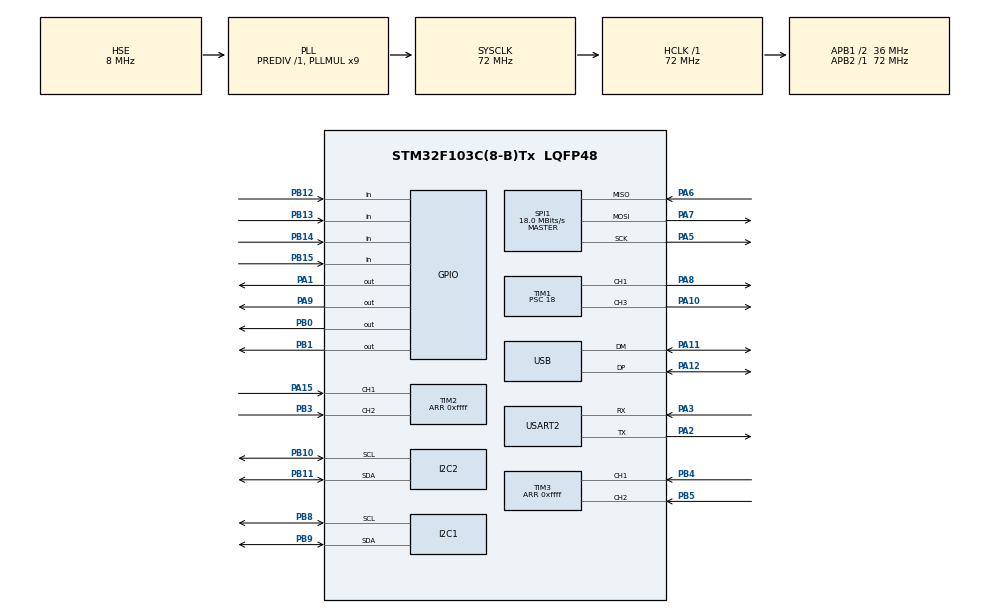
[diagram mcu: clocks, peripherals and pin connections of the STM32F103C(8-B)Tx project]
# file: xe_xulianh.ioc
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I2C2.GeneralCallMode=I2C_GENERALCALL_ENABLE
Mcu.Family=STM32F1
Mcu.Name=STM32F103C(8-B)Tx
Mcu.Package=LQFP48
NVIC.I2C1_ER_IRQn=true\:1\:0\:true\:false\:true\:true\:true
NVIC.I2C1_EV_IRQn=true\:1\:0\:true\:false\:true\:true\:true
NVIC.I2C2_ER_IRQn=true\:1\:0\:true\:false\:true\:true\:true
NVIC.I2C2_EV_IRQn=true\:1\:0\:true\:false\:true\:true\:true
NVIC.PriorityGroup=NVIC_PRIORITYGROUP_4
NVIC.TIM2_IRQn=true\:0\:0\:false\:false\:true\:true\:true
NVIC.TIM3_IRQn=true\:0\:0\:false\:false\:true\:true\:true
NVIC.TIM4_IRQn=true\:0\:0\:false\:false\:true\:true\:true
NVIC.USART2_IRQn=true\:1\:0\:true\:false\:true\:true\:true
PA1.Signal=GPIO_Output
PA10.Signal=S_TIM1_CH3
PA11.Mode=Device
PA11.Signal=USB_DM
PA12.Mode=Device
PA12.Signal=USB_DP
PA13.Mode=Serial_Wire
PA13.Signal=SYS_JTMS-SWDIO
PA14.Mode=Serial_Wire
PA14.Signal=SYS_JTCK-SWCLK
PA15.GPIO_PuPd=GPIO_PULLUP
PA15.Signal=S_TIM2_CH1_ETR
PA2.Mode=Asynchronous
PA2.Signal=USART2_TX
PA3.Mode=Asynchronous
PA3.Signal=USART2_RX
PA5.Mode=Full_Duplex_Master
PA5.Signal=SPI1_SCK
PA6.Mode=Full_Duplex_Master
PA6.Signal=SPI1_MISO
PA7.Mode=Full_Duplex_Master
PA7.Signal=SPI1_MOSI
PA8.Signal=S_TIM1_CH1
PA9.Signal=GPIO_Output
PB0.Signal=GPIO_Output
PB1.Signal=GPIO_Output
PB10.Mode=I2C
PB10.Signal=I2C2_SCL
PB11.Mode=I2C
PB11.Signal=I2C2_SDA
PB12.Signal=GPIO_Input
PB13.Signal=GPIO_Input
PB14.Signal=GPIO_Input
PB15.Signal=GPIO_Input
PB3.GPIO_PuPd=GPIO_PULLUP
PB3.Signal=S_TIM2_CH2
PB4.GPIO_PuPd=GPIO_PULLUP
PB4.Signal=S_TIM3_CH1
PB5.GPIO_PuPd=GPIO_PULLUP
PB5.Signal=S_TIM3_CH2
PB8.Mode=I2C
PB8.Signal=I2C1_SCL
PB9.Mode=I2C
PB9.Signal=I2C1_SDA
PD0-OSC_IN.Mode=HSE-External-Oscillator
PD0-OSC_IN.Signal=RCC_OSC_IN
PD1-OSC_OUT.Mode=HSE-External-Oscillator
PD1-OSC_OUT.Signal=RCC_OSC_OUT
ProjectManager.HeapSize=0x200
ProjectManager.StackSize=0x400
ProjectManager.TargetToolchain=MDK-ARM V5
RCC.AHBFreq_Value=72000000
RCC.APB1CLKDivider=RCC_HCLK_DIV2
RCC.APB1Freq_Value=36000000
RCC.APB1TimFreq_Value=72000000
RCC.APB2Freq_Value=72000000
RCC.APB2TimFreq_Value=72000000
RCC.HCLKFreq_Value=72000000
RCC.PLLMUL=RCC_PLL_MUL9
RCC.SYSCLKFreq_VALUE=72000000
RCC.SYSCLKSource=RCC_SYSCLKSOURCE_PLLCLK
RCC.USBFreq_Value=48000000
RCC.USBPrescaler=RCC_USBCLKSOURCE_PLL_DIV1_5
SH.S_TIM1_CH1.0=TIM1_CH1,PWM Generation1 CH1
SH.S_TIM1_CH3.0=TIM1_CH3,PWM Generation3 CH3
SH.S_TIM2_CH1_ETR.0=TIM2_CH1,Encoder_Interface
SH.S_TIM2_CH2.0=TIM2_CH2,Encoder_Interface
SH.S_TIM3_CH1.0=TIM3_CH1,Encoder_Interface
SH.S_TIM3_CH2.0=TIM3_CH2,Encoder_Interface
SPI1.BaudRatePrescaler=SPI_BAUDRATEPRESCALER_4
SPI1.CalculateBaudRate=18.0 MBits/s
SPI1.Direction=SPI_DIRECTION_2LINES
SPI1.Mode=SPI_MODE_MASTER
SPI1.VirtualType=VM_MASTER
TIM1.Channel-PWM\ Generation1\ CH1=TIM_CHANNEL_1
TIM1.Channel-PWM\ Generation3\ CH3=TIM_CHANNEL_3
TIM1.Period=400
TIM1.Prescaler=18
TIM2.EncoderMode=TIM_ENCODERMODE_TI12
TIM2.Period=0xffff
TIM3.EncoderMode=TIM_ENCODERMODE_TI12
TIM3.Period=0xffff
TIM4.Channel-PWM\ Generation1\ No\ Output=TIM_CHANNEL_1
TIM4.Period=60000
TIM4.Prescaler=23
USART2.VirtualMode=VM_ASYNC
VP_TIM1_VS_ClockSourceINT.Mode=Internal
VP_TIM4_VS_ClockSourceINT.Mode=Internal
VP_TIM4_VS_no_output1.Mode=PWM Generation1 No Output
board=custom

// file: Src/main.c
/* USER CODE BEGIN Header */
/**
  ******************************************************************************
  * @file           : main.c
  * @brief          : Main program body
  ******************************************************************************
  * @attention
  *
  * <h2><center>&copy; Copyright (c) 2020 STMicroelectronics.
  * All rights reserved.</center></h2>
  *
  * This software component is licensed by ST under BSD 3-Clause license,
  * the "License"; You may not use this file except in compliance with the
  * License. You may obtain a copy of the License at:
  *                        opensource.org/licenses/BSD-3-Clause
  *
  ******************************************************************************
  */
/* USER CODE END Header */

#include "main.h"

/* USER CODE BEGIN Includes */

#include <stdio.h>
//#define arduino 0x68
//#define I2C_SLAVE_ADDRESS7 	0x30	//
//#define ClockSpeed 			50000	//clock
/* USER CODE END Includes */

I2C_HandleTypeDef hi2c1;
I2C_HandleTypeDef hi2c2;

SPI_HandleTypeDef hspi1;

TIM_HandleTypeDef htim1;
TIM_HandleTypeDef htim2;
TIM_HandleTypeDef htim3;

UART_HandleTypeDef huart2;

PCD_HandleTypeDef hpcd_USB_FS;

void SystemClock_Config(void);
static void MX_GPIO_Init(void);
static void MX_I2C1_Init(void);
static void MX_I2C2_Init(void);
static void MX_TIM1_Init(void);
static void MX_USART2_UART_Init(void);
static void MX_USB_PCD_Init(void);
static void MX_SPI1_Init(void);
static void MX_TIM4_Init(void);
static void MX_TIM2_Init(void);
static void MX_TIM3_Init(void);
/* USER CODE BEGIN PFP */
uint16_t duty_1=100,duty_2=100, fade=2;	//pwm
int i,j;		//count
int chieu=0;	//chieu dong co dc
uint8_t receive_data[7], send_data[7];//i2c
uint8_t data=32;
char buffer[100];//
int len=100;
float duty_servo=0;
uint8_t I2C2_Buffer_Tx[64]={0};
uint8_t Tx_Idx,Rx_Idx,rx_addr_match=0,slave_receive_data=0;
uint8_t i2cResponse[16]="hello world! 5";

//setup encoder
int read_dc1,read_dc2;
volatile short count_e1=0,count_e2=0;//count encoder 1,2

/* USER CODE END PFP */

/* USER CODE BEGIN 0 */
void dc1(int direction,int duty);
void dc2(int direction,int duty);
void servo(float angle);
void uart_int(int data);
void uart_string(char data[100]);
void re_phai();
/* USER CODE END 0 */

int main(void)
{

  /* MCU Configuration--------------------------------------------------------*/

  /* Reset of all peripherals, Initializes the Flash interface and the Systick. */
  HAL_Init();

  /* Configure the system clock */
  SystemClock_Config();

  /* Initialize all configured peripherals */
  MX_GPIO_Init();
  MX_I2C1_Init();
  MX_I2C2_Init();
  MX_TIM1_Init();
  MX_USART2_UART_Init();
  MX_USB_PCD_Init();
  MX_SPI1_Init();
  MX_TIM4_Init();
  MX_TIM2_Init();
  MX_TIM3_Init();
  /* USER CODE BEGIN 2 */
	HAL_TIM_PWM_Start(&htim1, TIM_CHANNEL_1);
	HAL_TIM_PWM_Start(&htim1, TIM_CHANNEL_3);
//	HAL_TIM_PWM_Start(&htim4, TIM_CHANNEL_1);
//	HAL_TIM_Base_Start_IT(&htim3);
//	HAL_TIM_Base_Start_IT(&htim2);
	HAL_TIM_Encoder_Start(&htim2,TIM_CHANNEL_1| TIM_CHANNEL_2);
	HAL_TIM_Encoder_Start(&htim3,TIM_CHANNEL_1| TIM_CHANNEL_2);

  /* USER CODE END 2 */

  /* Infinite loop */
  while (1)
  {

    /* USER CODE BEGIN 3 */
//		HAL_GPIO_WritePin(GPIOB,GPIO_PIN_1,chieu);
//		__HAL_TIM_SET_COMPARE(&htim1,TIM_CHANNEL_1,duty);
//		__HAL_TIM_SET_COMPARE(&htim1,TIM_CHANNEL_3,duty);
//		for(i = -90; i<=90;i+=10)
//		{
//			duty_servo+=10;
//	if(duty_servo>=90)
//	{
//		duty_servo=-90;
//	}
//			uart_int(duty_servo);
//			servo(duty_servo);
//				HAL_Delay(500);
//		}

//		dc1( chieu, duty_1);
//		dc2( chieu, duty_2);
//		duty+=fade;
//		if(duty<=40||duty>=200)
//		{
//			fade=-fade;
//		}
		for(i=0;i<1000;i++)
		{
			for(j=0;j<1000;j++);
		}
//		uart_int(duty);

		count_e1=-(__HAL_TIM_GET_COUNTER(&htim2));//counter
		count_e2=-(__HAL_TIM_GET_COUNTER(&htim3));//counter

		re_phai();

//		HAL_I2C_Mem_Read_DMA(&hi2c1,arduino,0,I2C_MEMADD_SIZE_8BIT,receive_data,1);
//		sprintf(buffer, " %d \n test", duty);
//		len=strlen(buffer);
//
//		HAL_UART_Transmit(&huart2,buffer,len, 1000);
  }

  /* USER CODE END 3 */
}

void SystemClock_Config(void)
{
  RCC_OscInitTypeDef RCC_OscInitStruct = {0};
  RCC_ClkInitTypeDef RCC_ClkInitStruct = {0};
  RCC_PeriphCLKInitTypeDef PeriphClkInit = {0};

  /** Initializes the CPU, AHB and APB busses clocks
  */
  RCC_OscInitStruct.OscillatorType = RCC_OSCILLATORTYPE_HSE;
  RCC_OscInitStruct.HSEState = RCC_HSE_ON;
  RCC_OscInitStruct.HSEPredivValue = RCC_HSE_PREDIV_DIV1;
  RCC_OscInitStruct.HSIState = RCC_HSI_ON;
  RCC_OscInitStruct.PLL.PLLState = RCC_PLL_ON;
  RCC_OscInitStruct.PLL.PLLSource = RCC_PLLSOURCE_HSE;
  RCC_OscInitStruct.PLL.PLLMUL = RCC_PLL_MUL9;
  if (HAL_RCC_OscConfig(&RCC_OscInitStruct) != HAL_OK)
  {
    Error_Handler();
  }
  /** Initializes the CPU, AHB and APB busses clocks
  */
  RCC_ClkInitStruct.ClockType = RCC_CLOCKTYPE_HCLK|RCC_CLOCKTYPE_SYSCLK
                              |RCC_CLOCKTYPE_PCLK1|RCC_CLOCKTYPE_PCLK2;
  RCC_ClkInitStruct.SYSCLKSource = RCC_SYSCLKSOURCE_PLLCLK;
  RCC_ClkInitStruct.AHBCLKDivider = RCC_SYSCLK_DIV1;
  RCC_ClkInitStruct.APB1CLKDivider = RCC_HCLK_DIV2;
  RCC_ClkInitStruct.APB2CLKDivider = RCC_HCLK_DIV1;

  if (HAL_RCC_ClockConfig(&RCC_ClkInitStruct, FLASH_LATENCY_2) != HAL_OK)
  {
    Error_Handler();
  }
  PeriphClkInit.PeriphClockSelection = RCC_PERIPHCLK_USB;
  PeriphClkInit.UsbClockSelection = RCC_USBCLKSOURCE_PLL_DIV1_5;
  if (HAL_RCCEx_PeriphCLKConfig(&PeriphClkInit) != HAL_OK)
  {
    Error_Handler();
  }
}

static void MX_I2C1_Init(void)
{

  hi2c1.Instance = I2C1;
  hi2c1.Init.ClockSpeed = 100000;
  hi2c1.Init.DutyCycle = I2C_DUTYCYCLE_2;
  hi2c1.Init.OwnAddress1 = 0;
  hi2c1.Init.AddressingMode = I2C_ADDRESSINGMODE_7BIT;
  hi2c1.Init.DualAddressMode = I2C_DUALADDRESS_DISABLE;
  hi2c1.Init.OwnAddress2 = 0;
  hi2c1.Init.GeneralCallMode = I2C_GENERALCALL_DISABLE;
  hi2c1.Init.NoStretchMode = I2C_NOSTRETCH_DISABLE;
  if (HAL_I2C_Init(&hi2c1) != HAL_OK)
  {
    Error_Handler();
  }

}

static void MX_I2C2_Init(void)
{

  hi2c2.Instance = I2C2;
  hi2c2.Init.ClockSpeed = 100000;
  hi2c2.Init.DutyCycle = I2C_DUTYCYCLE_2;
  hi2c2.Init.OwnAddress1 = 0;
  hi2c2.Init.AddressingMode = I2C_ADDRESSINGMODE_7BIT;
  hi2c2.Init.DualAddressMode = I2C_DUALADDRESS_DISABLE;
  hi2c2.Init.OwnAddress2 = 0;
  hi2c2.Init.GeneralCallMode = I2C_GENERALCALL_ENABLE;
  hi2c2.Init.NoStretchMode = I2C_NOSTRETCH_DISABLE;
  if (HAL_I2C_Init(&hi2c2) != HAL_OK)
  {
    Error_Handler();
  }

}

static void MX_SPI1_Init(void)
{

  /* SPI1 parameter configuration*/
  hspi1.Instance = SPI1;
  hspi1.Init.Mode = SPI_MODE_MASTER;
  hspi1.Init.Direction = SPI_DIRECTION_2LINES;
  hspi1.Init.DataSize = SPI_DATASIZE_8BIT;
  hspi1.Init.CLKPolarity = SPI_POLARITY_LOW;
  hspi1.Init.CLKPhase = SPI_PHASE_1EDGE;
  hspi1.Init.NSS = SPI_NSS_SOFT;
  hspi1.Init.BaudRatePrescaler = SPI_BAUDRATEPRESCALER_4;
  hspi1.Init.FirstBit = SPI_FIRSTBIT_MSB;
  hspi1.Init.TIMode = SPI_TIMODE_DISABLE;
  hspi1.Init.CRCCalculation = SPI_CRCCALCULATION_DISABLE;
  hspi1.Init.CRCPolynomial = 10;
  if (HAL_SPI_Init(&hspi1) != HAL_OK)
  {
    Error_Handler();
  }

}

static void MX_TIM1_Init(void)
{

  TIM_ClockConfigTypeDef sClockSourceConfig = {0};
  TIM_MasterConfigTypeDef sMasterConfig = {0};
  TIM_OC_InitTypeDef sConfigOC = {0};
  TIM_BreakDeadTimeConfigTypeDef sBreakDeadTimeConfig = {0};

  htim1.Instance = TIM1;
  htim1.Init.Prescaler = 18;
  htim1.Init.CounterMode = TIM_COUNTERMODE_UP;
  htim1.Init.Period = 400;
  htim1.Init.ClockDivision = TIM_CLOCKDIVISION_DIV1;
  htim1.Init.RepetitionCounter = 0;
  htim1.Init.AutoReloadPreload = TIM_AUTORELOAD_PRELOAD_DISABLE;
  if (HAL_TIM_Base_Init(&htim1) != HAL_OK)
  {
    Error_Handler();
  }
  sClockSourceConfig.ClockSource = TIM_CLOCKSOURCE_INTERNAL;
  if (HAL_TIM_ConfigClockSource(&htim1, &sClockSourceConfig) != HAL_OK)
  {
    Error_Handler();
  }
  if (HAL_TIM_PWM_Init(&htim1) != HAL_OK)
  {
    Error_Handler();
  }
  sMasterConfig.MasterOutputTrigger = TIM_TRGO_RESET;
  sMasterConfig.MasterSlaveMode = TIM_MASTERSLAVEMODE_DISABLE;
  if (HAL_TIMEx_MasterConfigSynchronization(&htim1, &sMasterConfig) != HAL_OK)
  {
    Error_Handler();
  }
  sConfigOC.OCMode = TIM_OCMODE_PWM1;
  sConfigOC.Pulse = 0;
  sConfigOC.OCPolarity = TIM_OCPOLARITY_HIGH;
  sConfigOC.OCNPolarity = TIM_OCNPOLARITY_HIGH;
  sConfigOC.OCFastMode = TIM_OCFAST_DISABLE;
  sConfigOC.OCIdleState = TIM_OCIDLESTATE_RESET;
  sConfigOC.OCNIdleState = TIM_OCNIDLESTATE_RESET;
  if (HAL_TIM_PWM_ConfigChannel(&htim1, &sConfigOC, TIM_CHANNEL_1) != HAL_OK)
  {
    Error_Handler();
  }
  if (HAL_TIM_PWM_ConfigChannel(&htim1, &sConfigOC, TIM_CHANNEL_3) != HAL_OK)
  {
    Error_Handler();
  }
  sBreakDeadTimeConfig.OffStateRunMode = TIM_OSSR_DISABLE;
  sBreakDeadTimeConfig.OffStateIDLEMode = TIM_OSSI_DISABLE;
  sBreakDeadTimeConfig.LockLevel = TIM_LOCKLEVEL_OFF;
  sBreakDeadTimeConfig.DeadTime = 0;
  sBreakDeadTimeConfig.BreakState = TIM_BREAK_DISABLE;
  sBreakDeadTimeConfig.BreakPolarity = TIM_BREAKPOLARITY_HIGH;
  sBreakDeadTimeConfig.AutomaticOutput = TIM_AUTOMATICOUTPUT_DISABLE;
  if (HAL_TIMEx_ConfigBreakDeadTime(&htim1, &sBreakDeadTimeConfig) != HAL_OK)
  {
    Error_Handler();
  }
  HAL_TIM_MspPostInit(&htim1);

}

static void MX_TIM2_Init(void)
{

  TIM_Encoder_InitTypeDef sConfig = {0};
  TIM_MasterConfigTypeDef sMasterConfig = {0};

  htim2.Instance = TIM2;
  htim2.Init.Prescaler = 0;
  htim2.Init.CounterMode = TIM_COUNTERMODE_UP;
  htim2.Init.Period = 0xffff;
  htim2.Init.ClockDivision = TIM_CLOCKDIVISION_DIV1;
  htim2.Init.AutoReloadPreload = TIM_AUTORELOAD_PRELOAD_DISABLE;
  sConfig.EncoderMode = TIM_ENCODERMODE_TI12;
  sConfig.IC1Polarity = TIM_ICPOLARITY_RISING;
  sConfig.IC1Selection = TIM_ICSELECTION_DIRECTTI;
  sConfig.IC1Prescaler = TIM_ICPSC_DIV1;
  sConfig.IC1Filter = 0;
  sConfig.IC2Polarity = TIM_ICPOLARITY_RISING;
  sConfig.IC2Selection = TIM_ICSELECTION_DIRECTTI;
  sConfig.IC2Prescaler = TIM_ICPSC_DIV1;
  sConfig.IC2Filter = 0;
  if (HAL_TIM_Encoder_Init(&htim2, &sConfig) != HAL_OK)
  {
    Error_Handler();
  }
  sMasterConfig.MasterOutputTrigger = TIM_TRGO_RESET;
  sMasterConfig.MasterSlaveMode = TIM_MASTERSLAVEMODE_DISABLE;
  if (HAL_TIMEx_MasterConfigSynchronization(&htim2, &sMasterConfig) != HAL_OK)
  {
    Error_Handler();
  }

}

static void MX_TIM3_Init(void)
{

  TIM_Encoder_InitTypeDef sConfig = {0};
  TIM_MasterConfigTypeDef sMasterConfig = {0};

  htim3.Instance = TIM3;
  htim3.Init.Prescaler = 0;
  htim3.Init.CounterMode = TIM_COUNTERMODE_UP;
  htim3.Init.Period = 0xffff;
  htim3.Init.ClockDivision = TIM_CLOCKDIVISION_DIV1;
  htim3.Init.AutoReloadPreload = TIM_AUTORELOAD_PRELOAD_DISABLE;
  sConfig.EncoderMode = TIM_ENCODERMODE_TI12;
  sConfig.IC1Polarity = TIM_ICPOLARITY_RISING;
  sConfig.IC1Selection = TIM_ICSELECTION_DIRECTTI;
  sConfig.IC1Prescaler = TIM_ICPSC_DIV1;
  sConfig.IC1Filter = 0;
  sConfig.IC2Polarity = TIM_ICPOLARITY_RISING;
  sConfig.IC2Selection = TIM_ICSELECTION_DIRECTTI;
  sConfig.IC2Prescaler = TIM_ICPSC_DIV1;
  sConfig.IC2Filter = 0;
  if (HAL_TIM_Encoder_Init(&htim3, &sConfig) != HAL_OK)
  {
    Error_Handler();
  }
  sMasterConfig.MasterOutputTrigger = TIM_TRGO_RESET;
  sMasterConfig.MasterSlaveMode = TIM_MASTERSLAVEMODE_DISABLE;
  if (HAL_TIMEx_MasterConfigSynchronization(&htim3, &sMasterConfig) != HAL_OK)
  {
    Error_Handler();
  }

}

static void MX_TIM4_Init(void)
{

  LL_TIM_InitTypeDef TIM_InitStruct = {0};
  LL_TIM_OC_InitTypeDef TIM_OC_InitStruct = {0};

  /* Peripheral clock enable */
  LL_APB1_GRP1_EnableClock(LL_APB1_GRP1_PERIPH_TIM4);

  /* TIM4 interrupt Init */
  NVIC_SetPriority(TIM4_IRQn, NVIC_EncodePriority(NVIC_GetPriorityGrouping(),0, 0));
  NVIC_EnableIRQ(TIM4_IRQn);

  TIM_InitStruct.Prescaler = 23;
  TIM_InitStruct.CounterMode = LL_TIM_COUNTERMODE_UP;
  TIM_InitStruct.Autoreload = 60000;
  TIM_InitStruct.ClockDivision = LL_TIM_CLOCKDIVISION_DIV1;
  LL_TIM_Init(TIM4, &TIM_InitStruct);
  LL_TIM_DisableARRPreload(TIM4);
  LL_TIM_SetClockSource(TIM4, LL_TIM_CLOCKSOURCE_INTERNAL);
  LL_TIM_OC_EnablePreload(TIM4, LL_TIM_CHANNEL_CH1);
  TIM_OC_InitStruct.OCMode = LL_TIM_OCMODE_PWM1;
  TIM_OC_InitStruct.OCState = LL_TIM_OCSTATE_DISABLE;
  TIM_OC_InitStruct.OCNState = LL_TIM_OCSTATE_DISABLE;
  TIM_OC_InitStruct.CompareValue = 0;
  TIM_OC_InitStruct.OCPolarity = LL_TIM_OCPOLARITY_HIGH;
  LL_TIM_OC_Init(TIM4, LL_TIM_CHANNEL_CH1, &TIM_OC_InitStruct);
  LL_TIM_OC_DisableFast(TIM4, LL_TIM_CHANNEL_CH1);
  LL_TIM_SetTriggerOutput(TIM4, LL_TIM_TRGO_RESET);
  LL_TIM_DisableMasterSlaveMode(TIM4);
  /* USER CODE BEGIN TIM4_Init 2 */
	LL_TIM_EnableIT_CC1(TIM4);
	LL_TIM_ClearFlag_CC1(TIM4);
	LL_TIM_EnableIT_UPDATE(TIM4);
	LL_TIM_ClearFlag_UPDATE(TIM4);

	LL_TIM_EnableCounter(TIM4);
  /* USER CODE END TIM4_Init 2 */

}

static void MX_USART2_UART_Init(void)
{

  huart2.Instance = USART2;
  huart2.Init.BaudRate = 115200;
  huart2.Init.WordLength = UART_WORDLENGTH_8B;
  huart2.Init.StopBits = UART_STOPBITS_1;
  huart2.Init.Parity = UART_PARITY_NONE;
  huart2.Init.Mode = UART_MODE_TX_RX;
  huart2.Init.HwFlowCtl = UART_HWCONTROL_NONE;
  huart2.Init.OverSampling = UART_OVERSAMPLING_16;
  if (HAL_UART_Init(&huart2) != HAL_OK)
  {
    Error_Handler();
  }

}

static void MX_USB_PCD_Init(void)
{

  hpcd_USB_FS.Instance = USB;
  hpcd_USB_FS.Init.dev_endpoints = 8;
  hpcd_USB_FS.Init.speed = PCD_SPEED_FULL;
  hpcd_USB_FS.Init.low_power_enable = DISABLE;
  hpcd_USB_FS.Init.lpm_enable = DISABLE;
  hpcd_USB_FS.Init.battery_charging_enable = DISABLE;
  if (HAL_PCD_Init(&hpcd_USB_FS) != HAL_OK)
  {
    Error_Handler();
  }

}

static void MX_GPIO_Init(void)
{
  GPIO_InitTypeDef GPIO_InitStruct = {0};

  /* GPIO Ports Clock Enable */
  __HAL_RCC_GPIOD_CLK_ENABLE();
  __HAL_RCC_GPIOA_CLK_ENABLE();
  __HAL_RCC_GPIOB_CLK_ENABLE();

  /*Configure GPIO pin Output Level */
  HAL_GPIO_WritePin(GPIOA, GPIO_PIN_1|GPIO_PIN_9, GPIO_PIN_RESET);

  /*Configure GPIO pin Output Level */
  HAL_GPIO_WritePin(GPIOB, GPIO_PIN_0|GPIO_PIN_1, GPIO_PIN_RESET);

  /*Configure GPIO pins : PA1 PA9 */
  GPIO_InitStruct.Pin = GPIO_PIN_1|GPIO_PIN_9;
  GPIO_InitStruct.Mode = GPIO_MODE_OUTPUT_PP;
  GPIO_InitStruct.Pull = GPIO_NOPULL;
  GPIO_InitStruct.Speed = GPIO_SPEED_FREQ_LOW;
  HAL_GPIO_Init(GPIOA, &GPIO_InitStruct);

  /*Configure GPIO pins : PB0 PB1 */
  GPIO_InitStruct.Pin = GPIO_PIN_0|GPIO_PIN_1;
  GPIO_InitStruct.Mode = GPIO_MODE_OUTPUT_PP;
  GPIO_InitStruct.Pull = GPIO_NOPULL;
  GPIO_InitStruct.Speed = GPIO_SPEED_FREQ_LOW;
  HAL_GPIO_Init(GPIOB, &GPIO_InitStruct);

  /*Configure GPIO pins : PB12 PB13 PB14 PB15 */
  GPIO_InitStruct.Pin = GPIO_PIN_12|GPIO_PIN_13|GPIO_PIN_14|GPIO_PIN_15;
  GPIO_InitStruct.Mode = GPIO_MODE_INPUT;
  GPIO_InitStruct.Pull = GPIO_NOPULL;
  HAL_GPIO_Init(GPIOB, &GPIO_InitStruct);

}

/* USER CODE BEGIN 4 */
//void HAL_GPIO_EXTI_Callback(uint16_t GPIO_Pin)
//{
//	if(GPIO_Pin==GPIO_PIN_4)
//	{
//		count_e1++;
//		if(HAL_GPIO_ReadPin(GPIOB, GPIO_PIN_4)==HAL_GPIO_ReadPin(GPIOB, GPIO_PIN_5))
//		{
//			read_dc1=1;
//		}else read_dc1=2;
//	}
//	if(GPIO_Pin==GPIO_PIN_15)
//	{
//		count_e2++;
//		if(HAL_GPIO_ReadPin(GPIOA, GPIO_PIN_0)==HAL_GPIO_ReadPin(GPIOC, GPIO_PIN_1))
//		{
//			read_dc2=1;
//		}else read_dc2=2;
//	}
//}

void HAL_TIM_PeriodElapsedCallback(TIM_HandleTypeDef *htim)
{

}
void re_phai(int count1,int  count2)
{
	int v1=100,v2=50;

	if(count_e1>1000)
		dc1(1,0);
	if(count_e2>1000)
		dc2(1,0);

	dc1(1,v1);
	dc2(1,v2);
}
void dc1(int direction,int duty)
{
	HAL_GPIO_WritePin(GPIOB,GPIO_PIN_1,direction);
		__HAL_TIM_SET_COMPARE(&htim1,TIM_CHANNEL_1,duty);
//		duty+=fade;
}
void dc2(int direction,int duty)
 {
	HAL_GPIO_WritePin(GPIOB,GPIO_PIN_0,direction);
		__HAL_TIM_SET_COMPARE(&htim1,TIM_CHANNEL_3,duty);
//		duty+=fade;
}
void servo(float angle)
{
	LL_TIM_OC_SetCompareCH1(TIM4,4499+angle*50/3);
}
void uart_int(int data)
{
	sprintf(buffer, " %d \n", data);
	len=strlen(buffer);
	HAL_UART_Transmit(&huart2,buffer,len, 1000);
}
void uart_string(char data[100])
{
	len=strlen(data);
	HAL_UART_Transmit(&huart2,data,len, 1000);
}

/* USER CODE END 4 */

void Error_Handler(void)
{
}

/************************ (C) COPYRIGHT STMicroelectronics *****END OF FILE****/
